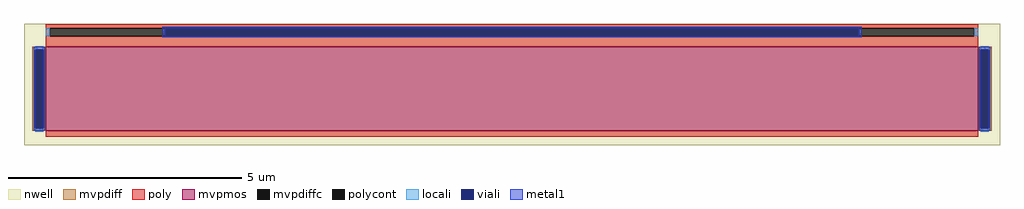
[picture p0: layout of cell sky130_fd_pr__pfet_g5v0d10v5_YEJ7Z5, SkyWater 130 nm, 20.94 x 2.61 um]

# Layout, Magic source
magic
tech sky130A
magscale 1 2
<< nwell >>
rect -2094 -278 2094 244
<< mvpmos >>
rect -2000 -216 2000 144
<< mvpdiff >>
rect -2058 132 -2000 144
rect -2058 -204 -2046 132
rect -2012 -204 -2000 132
rect -2058 -216 -2000 -204
rect 2000 132 2058 144
rect 2000 -204 2012 132
rect 2046 -204 2058 132
rect 2000 -216 2058 -204
<< mvpdiffc >>
rect -2046 -204 -2012 132
rect 2012 -204 2046 132
<< poly >>
rect -2000 225 2000 241
rect -2000 191 -1984 225
rect 1984 191 2000 225
rect -2000 144 2000 191
rect -2000 -242 2000 -216
<< polycont >>
rect -1984 191 1984 225
<< locali >>
rect -2000 191 -1984 225
rect 1984 191 2000 225
rect -2046 132 -2012 148
rect -2046 -220 -2012 -204
rect 2012 132 2046 148
rect 2012 -220 2046 -204
<< viali >>
rect -1488 191 1488 225
rect -2046 -204 -2012 132
rect 2012 -204 2046 132
<< metal1 >>
rect -1500 225 1500 231
rect -1500 191 -1488 225
rect 1488 191 1500 225
rect -1500 185 1500 191
rect -2052 132 -2006 144
rect -2052 -204 -2046 132
rect -2012 -204 -2006 132
rect -2052 -216 -2006 -204
rect 2006 132 2052 144
rect 2006 -204 2012 132
rect 2046 -204 2052 132
rect 2006 -216 2052 -204
<< properties >>
string gencell sky130_fd_pr__pfet_g5v0d10v5
string library sky130
string parameters w 1.8 l 20 m 1 nf 1 diffcov 100 polycov 100 guard 0 glc 1 grc 1 gtc 1 gbc 1 tbcov 100 rlcov 100 topc 1 botc 0 poverlap 0 doverlap 1 lmin 0.50 wmin 0.42 compatible {sky130_fd_pr__pfet_01v8  sky130_fd_pr__pfet_01v8_lvt sky130_fd_pr__pfet_01v8_hvt  sky130_fd_pr__pfet_g5v0d10v5} full_metal 1 viasrc 100 viadrn 100 viagate 75 viagb 0 viagr 0 viagl 0 viagt 0
<< end >>
